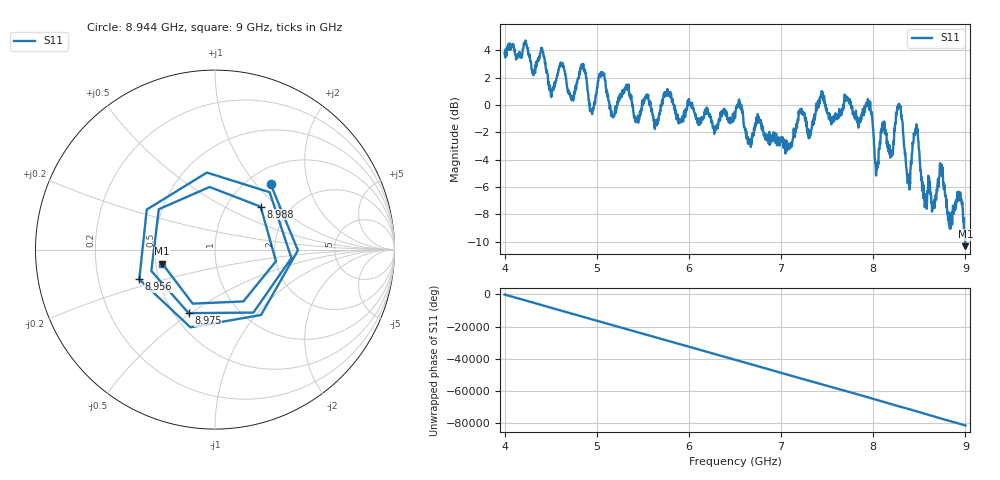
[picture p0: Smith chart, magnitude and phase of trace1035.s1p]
! Created with skrf 1.8.0 (http://scikit-rf.org).
# Hz S RI R 50.0
!freq ReS11 ImS11
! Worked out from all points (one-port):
!   1601 points, 4 GHz to 9 GHz, reference 50 ohm
!   lowest |S11| = -10.3 dB at 9 GHz (marker M1), VSWR 1.87, Z = 27 - j4.65 ohm
!   |S11| at or under -10 dB: 8.998287 GHz to end of sweep
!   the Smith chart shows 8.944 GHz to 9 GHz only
!   S11 on the Smith chart (normalised r, x): 8.944 GHz: 1.27, +1.20; 8.956 GHz: 0.39, -0.16; 8.975 GHz: 0.59, -0.49; 8.988 GHz: 1.43, +0.78; 9 GHz: 0.54, -0.09
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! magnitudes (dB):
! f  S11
! 4 GHz  3.8
! 4.409 GHz  4.1
! 4.509 GHz  0.6
! 4.625 GHz  2.9
! 4.725 GHz  0.7
! 4.853 GHz  3.0
! 4.944 GHz  -0.5
! 5.05 GHz  2.4
! 5.166 GHz  -0.8
! 5.25 GHz  0.8
! 5.875 GHz  -0.9
! 6.5 GHz  -1.0
! 7.125 GHz  -2.6
! 7.444 GHz  0.7
! 7.75 GHz  0.2
! 7.959 GHz  -0.4
! 8.041 GHz  -4.7
! 8.281 GHz  -0.1
! 8.375 GHz  -5.7
! 8.466 GHz  -1.7
! 8.562 GHz  -7.2
! 8.738 GHz  -4.7
! 8.831 GHz  -9.0
! 8.944 GHz  -6.4
! 8.956 GHz  -6.9
! 8.975 GHz  -8.3
! 8.988 GHz  -9.1
! 9 GHz  -10.3
